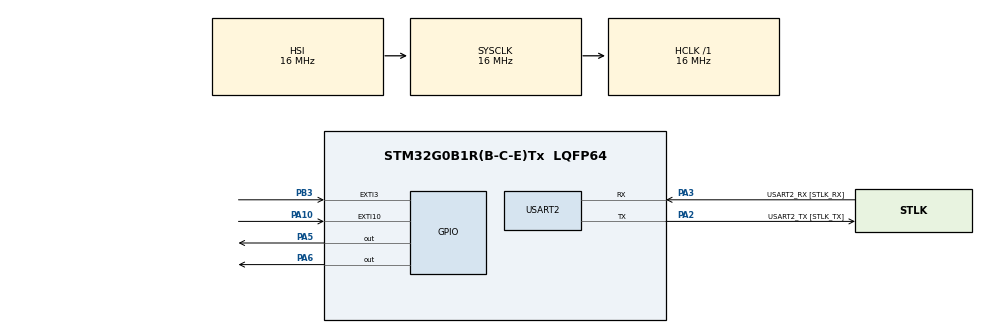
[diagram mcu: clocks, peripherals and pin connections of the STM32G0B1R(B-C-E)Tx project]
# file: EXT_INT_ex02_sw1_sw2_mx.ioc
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Mcu.Family=STM32G0
Mcu.Name=STM32G0B1R(B-C-E)Tx
Mcu.Package=LQFP64
PA10.Signal=GPXTI10
PA13.GPIO_Label=TMS
PA13.Mode=Serial_Wire
PA13.Signal=SYS_SWDIO
PA14-BOOT0.GPIO_Label=TCK
PA14-BOOT0.Mode=Serial_Wire
PA14-BOOT0.Signal=SYS_SWCLK
PA2.GPIO_Label=USART2_TX [STLK_TX]
PA2.Mode=Asynchronous
PA2.Signal=USART2_TX
PA3.GPIO_Label=USART2_RX [STLK_RX]
PA3.Mode=Asynchronous
PA3.Signal=USART2_RX
PA5.Signal=GPIO_Output
PA6.Signal=GPIO_Output
PB3.Signal=GPXTI3
PC14-OSC32_IN\ (PC14).Mode=LSE-External-Oscillator
PC14-OSC32_IN\ (PC14).Signal=RCC_OSC32_IN
PC15-OSC32_OUT\ (PC15).Mode=LSE-External-Oscillator
PC15-OSC32_OUT\ (PC15).Signal=RCC_OSC32_OUT
PF0-OSC_IN\ (PF0).GPIO_Label=MCO
PF0-OSC_IN\ (PF0).Mode=HSE-External-Clock-Source
PF0-OSC_IN\ (PF0).Signal=RCC_OSC_IN
ProjectManager.HeapSize=0x200
ProjectManager.StackSize=0x400
ProjectManager.TargetToolchain=STM32CubeIDE
RCC.AHBFreq_Value=16000000
RCC.CortexFreq_Value=16000000
RCC.EXTERNAL_CLOCK_VALUE=12288000
RCC.HCLKFreq_Value=16000000
RCC.HSE_VALUE=8000000
RCC.HSI48_VALUE=48000000
RCC.HSI_VALUE=16000000
RCC.SYSCLKFreq_VALUE=16000000
RCC.USBFreq_Value=48000000
RCC.VCOOutputFreq_Value=128000000
USART2.VirtualMode-Asynchronous=VM_ASYNC
board=NUCLEO-G0B1RE

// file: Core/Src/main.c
/* USER CODE BEGIN Header */
/**
  ******************************************************************************
  * @file           : main.c
  * @brief          : Main program body
  ******************************************************************************
  * @attention
  *
  * Copyright (c) 2026 STMicroelectronics.
  * All rights reserved.
  *
  * This software is licensed under terms that can be found in the LICENSE file
  * in the root directory of this software component.
  * If no LICENSE file comes with this software, it is provided AS-IS.
  *
  ******************************************************************************
  */
/* USER CODE END Header */
#include "main.h"

UART_HandleTypeDef huart2;

void SystemClock_Config(void);
static void MX_GPIO_Init(void);
static void MX_USART2_UART_Init(void);
/* USER CODE BEGIN PFP */
void HAL_GPIO_EXTI_Callback(uint16_t GPIO_Pin);
/* USER CODE END PFP */

int main(void)
{

  /* MCU Configuration--------------------------------------------------------*/

  /* Reset of all peripherals, Initializes the Flash interface and the Systick. */
  HAL_Init();

  /* Configure the system clock */
  SystemClock_Config();

  /* Initialize all configured peripherals */
  MX_GPIO_Init();
  MX_USART2_UART_Init();

  /* Infinite loop */
  while (1)
  {
	HAL_GPIO_TogglePin(GPIOA, GPIO_PIN_5);
	HAL_GPIO_TogglePin(GPIOA, GPIO_PIN_6);
	HAL_Delay(500);
  }
}

void SystemClock_Config(void)
{
  RCC_OscInitTypeDef RCC_OscInitStruct = {0};
  RCC_ClkInitTypeDef RCC_ClkInitStruct = {0};

  /** Configure the main internal regulator output voltage
  */
  HAL_PWREx_ControlVoltageScaling(PWR_REGULATOR_VOLTAGE_SCALE1);

  /** Initializes the RCC Oscillators according to the specified parameters
  * in the RCC_OscInitTypeDef structure.
  */
  RCC_OscInitStruct.OscillatorType = RCC_OSCILLATORTYPE_HSI;
  RCC_OscInitStruct.HSIState = RCC_HSI_ON;
  RCC_OscInitStruct.HSIDiv = RCC_HSI_DIV1;
  RCC_OscInitStruct.HSICalibrationValue = RCC_HSICALIBRATION_DEFAULT;
  RCC_OscInitStruct.PLL.PLLState = RCC_PLL_NONE;
  if (HAL_RCC_OscConfig(&RCC_OscInitStruct) != HAL_OK)
  {
    Error_Handler();
  }

  /** Initializes the CPU, AHB and APB buses clocks
  */
  RCC_ClkInitStruct.ClockType = RCC_CLOCKTYPE_HCLK|RCC_CLOCKTYPE_SYSCLK
                              |RCC_CLOCKTYPE_PCLK1;
  RCC_ClkInitStruct.SYSCLKSource = RCC_SYSCLKSOURCE_HSI;
  RCC_ClkInitStruct.AHBCLKDivider = RCC_SYSCLK_DIV1;
  RCC_ClkInitStruct.APB1CLKDivider = RCC_HCLK_DIV1;

  if (HAL_RCC_ClockConfig(&RCC_ClkInitStruct, FLASH_LATENCY_0) != HAL_OK)
  {
    Error_Handler();
  }
}

static void MX_USART2_UART_Init(void)
{

  huart2.Instance = USART2;
  huart2.Init.BaudRate = 115200;
  huart2.Init.WordLength = UART_WORDLENGTH_8B;
  huart2.Init.StopBits = UART_STOPBITS_1;
  huart2.Init.Parity = UART_PARITY_NONE;
  huart2.Init.Mode = UART_MODE_TX_RX;
  huart2.Init.HwFlowCtl = UART_HWCONTROL_NONE;
  huart2.Init.OverSampling = UART_OVERSAMPLING_16;
  huart2.Init.OneBitSampling = UART_ONE_BIT_SAMPLE_DISABLE;
  huart2.Init.ClockPrescaler = UART_PRESCALER_DIV1;
  huart2.AdvancedInit.AdvFeatureInit = UART_ADVFEATURE_NO_INIT;
  if (HAL_UART_Init(&huart2) != HAL_OK)
  {
    Error_Handler();
  }
  if (HAL_UARTEx_SetTxFifoThreshold(&huart2, UART_TXFIFO_THRESHOLD_1_8) != HAL_OK)
  {
    Error_Handler();
  }
  if (HAL_UARTEx_SetRxFifoThreshold(&huart2, UART_RXFIFO_THRESHOLD_1_8) != HAL_OK)
  {
    Error_Handler();
  }
  if (HAL_UARTEx_DisableFifoMode(&huart2) != HAL_OK)
  {
    Error_Handler();
  }

}

static void MX_GPIO_Init(void)
{
  GPIO_InitTypeDef GPIO_InitStruct = {0};

  /* GPIO Ports Clock Enable */
  __HAL_RCC_GPIOC_CLK_ENABLE();
  __HAL_RCC_GPIOF_CLK_ENABLE();
  __HAL_RCC_GPIOA_CLK_ENABLE();
  __HAL_RCC_GPIOB_CLK_ENABLE();

  /*Configure GPIO pin Output Level */
  HAL_GPIO_WritePin(GPIOA, GPIO_PIN_5|GPIO_PIN_6, GPIO_PIN_RESET);

  /*Configure GPIO pins : PA5 PA6 */
  GPIO_InitStruct.Pin = GPIO_PIN_5|GPIO_PIN_6;
  GPIO_InitStruct.Mode = GPIO_MODE_OUTPUT_PP;
  GPIO_InitStruct.Pull = GPIO_NOPULL;
  GPIO_InitStruct.Speed = GPIO_SPEED_FREQ_LOW;
  HAL_GPIO_Init(GPIOA, &GPIO_InitStruct);

  /*Configure GPIO pin : PA10 */
  GPIO_InitStruct.Pin = GPIO_PIN_10;
  GPIO_InitStruct.Mode = GPIO_MODE_IT_FALLING;
  GPIO_InitStruct.Pull = GPIO_NOPULL;
  HAL_GPIO_Init(GPIOA, &GPIO_InitStruct);

  /*Configure GPIO pin : PB3 */
  GPIO_InitStruct.Pin = GPIO_PIN_3;
  GPIO_InitStruct.Mode = GPIO_MODE_IT_FALLING;
  GPIO_InitStruct.Pull = GPIO_NOPULL;
  HAL_GPIO_Init(GPIOB, &GPIO_InitStruct);

/* USER CODE BEGIN MX_GPIO_Init_2 */
  HAL_NVIC_SetPriority(EXTI4_15_IRQn, 0, 0);
  HAL_NVIC_EnableIRQ(EXTI4_15_IRQn);

  HAL_NVIC_SetPriority(EXTI2_3_IRQn, 0, 1);
  HAL_NVIC_EnableIRQ(EXTI2_3_IRQn);

/* USER CODE END MX_GPIO_Init_2 */
}

/* USER CODE BEGIN 4 */
void HAL_GPIO_EXTI_Callback(uint16_t GPIO_Pin){
	if(GPIO_Pin == GPIO_PIN_10){
		for (int i = 0; i < 10; i++) {
			HAL_GPIO_TogglePin(GPIOA, GPIO_PIN_5);
			for (volatile uint32_t j = 0; j < 200000; j++){
				__NOP();
			}
		}
	}
	if(GPIO_Pin == GPIO_PIN_3){
		for (int i = 0; i < 10; i++) {
			HAL_GPIO_TogglePin(GPIOA, GPIO_PIN_6);
			for (volatile uint32_t j = 0; j < 200000; j++){
				__NOP();
			}
		}
	}
}
/* USER CODE END 4 */

void Error_Handler(void)
{
  __disable_irq();
  while (1)
  {
  }
}
